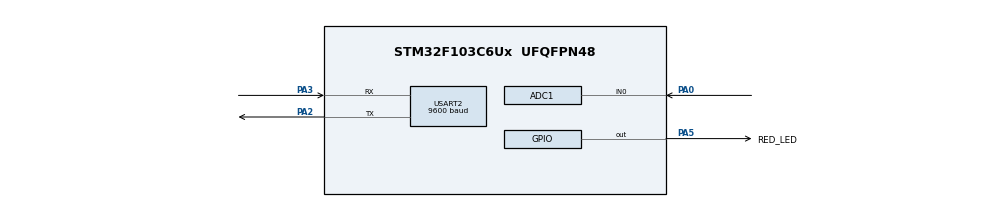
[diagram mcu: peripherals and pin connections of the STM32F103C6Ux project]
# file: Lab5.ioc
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ADC1.Channel-0\#ChannelRegularConversion=ADC_CHANNEL_0
ADC1.ContinuousConvMode=ENABLE
ADC1.NbrOfConversionFlag=1
ADC1.Rank-0\#ChannelRegularConversion=1
ADC1.SamplingTime-0\#ChannelRegularConversion=ADC_SAMPLETIME_1CYCLE_5
ADC1.master=1
Mcu.Family=STM32F1
Mcu.Name=STM32F103C6Ux
Mcu.Package=UFQFPN48
NVIC.PriorityGroup=NVIC_PRIORITYGROUP_4
NVIC.TIM2_IRQn=true\:0\:0\:false\:false\:true\:true\:true\:true
NVIC.USART2_IRQn=true\:0\:0\:false\:false\:true\:true\:true\:true
PA0-WKUP.Signal=ADCx_IN0
PA2.Mode=Asynchronous
PA2.Signal=USART2_TX
PA3.Mode=Asynchronous
PA3.Signal=USART2_RX
PA5.GPIO_Label=RED_LED
PA5.Signal=GPIO_Output
ProjectManager.HeapSize=0x200
ProjectManager.StackSize=0x400
ProjectManager.TargetToolchain=STM32CubeIDE
RCC.APB1Freq_Value=8000000
RCC.APB2Freq_Value=8000000
SH.ADCx_IN0.0=ADC1_IN0,IN0
TIM2.Period=9
TIM2.Prescaler=7999
USART2.BaudRate=9600
USART2.VirtualMode=VM_ASYNC
VP_TIM2_VS_ClockSourceINT.Mode=Internal
board=custom

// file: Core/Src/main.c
/* USER CODE BEGIN Header */
/**
  ******************************************************************************
  * @file           : main.c
  * @brief          : Main program body
  ******************************************************************************
  * @attention
  *
  * Copyright (c) 2022 STMicroelectronics.
  * All rights reserved.
  *
  * This software is licensed under terms that can be found in the LICENSE file
  * in the root directory of this software component.
  * If no LICENSE file comes with this software, it is provided AS-IS.
  *
  ******************************************************************************
  */
/* USER CODE END Header */
#include "main.h"
#include "software_timer.h"

/* USER CODE BEGIN Includes */
#include <stdio.h>
/* USER CODE END Includes */

ADC_HandleTypeDef hadc1;

TIM_HandleTypeDef htim2;

UART_HandleTypeDef huart2;

void SystemClock_Config(void);
static void MX_GPIO_Init(void);
static void MX_USART2_UART_Init(void);
static void MX_ADC1_Init(void);
static void MX_TIM2_Init(void);

/* USER CODE BEGIN 0 */
uint8_t temp = 0;
uint8_t buffer[6];
uint8_t buffer_flag = 0;

const char send_command[6] = "!RST#";
const char ok_command[5] = "!OK#";
int rst_pos = 0;
int ok_pos = 0;
uint32_t ADC_value = 0;
char str[10];
void HAL_UART_RxCpltCallback(UART_HandleTypeDef *huart) {
	if(huart->Instance == USART2) {
		if(send_command[rst_pos] == temp) {
			buffer[rst_pos++] = temp;
		}
		else rst_pos = 0;
		if(ok_command[ok_pos] == temp) {
			buffer[ok_pos] = temp;
			ok_pos++;
		}
		else ok_pos = 0;
		buffer_flag = 1;
		HAL_UART_Receive_IT(&huart2, &temp, 1);
	}
}
/* USER CODE END 0 */

int main(void)
{

  /* MCU Configuration--------------------------------------------------------*/

  /* Reset of all peripherals, Initializes the Flash interface and the Systick. */
  HAL_Init();

  /* Configure the system clock */
  SystemClock_Config();

  /* Initialize all configured peripherals */
  MX_GPIO_Init();
  MX_USART2_UART_Init();
  MX_ADC1_Init();
  MX_TIM2_Init();

  /* Infinite loop */
  /* USER CODE BEGIN WHILE */
  HAL_TIM_Base_Start_IT(&htim2);
  HAL_ADC_Start(&hadc1);
  HAL_UART_Receive_IT(&huart2, &temp, 1);
  while (1)
  {
    /* USER CODE END WHILE */

    /* USER CODE BEGIN 3 */
	  if(buffer_flag == 1) {
		  if(strcmp((const char*) buffer, "!RST#") == 0) {
			  HAL_GPIO_TogglePin(RED_LED_GPIO_Port, RED_LED_Pin);
			  ADC_value = HAL_ADC_GetValue(&hadc1);
			  HAL_UART_Transmit(&huart2, (void*)str, sprintf(str , "\r\n!ADC=%d", (int) ADC_value), 1000);
			  setTimer1(300);
			  for(int i = 0; i < 6; i++) {
				 buffer[i] = 0;
			  }
		  }
		  if(strcmp((const char*) buffer, "!OK#") == 0) {
			  setTimer1(0);
		  }

		  buffer_flag = 0;
	  }
	  if(timer1_flag == 1) {
		  setTimer1(300);
		  HAL_UART_Transmit(&huart2, (void*)str, sprintf(str , "\r\n!ADC=%d", (int) ADC_value), 1000);
	  }
  }
  /* USER CODE END 3 */
}

void SystemClock_Config(void)
{
  RCC_OscInitTypeDef RCC_OscInitStruct = {0};
  RCC_ClkInitTypeDef RCC_ClkInitStruct = {0};
  RCC_PeriphCLKInitTypeDef PeriphClkInit = {0};

  /** Initializes the RCC Oscillators according to the specified parameters
  * in the RCC_OscInitTypeDef structure.
  */
  RCC_OscInitStruct.OscillatorType = RCC_OSCILLATORTYPE_HSI;
  RCC_OscInitStruct.HSIState = RCC_HSI_ON;
  RCC_OscInitStruct.HSICalibrationValue = RCC_HSICALIBRATION_DEFAULT;
  RCC_OscInitStruct.PLL.PLLState = RCC_PLL_NONE;
  if (HAL_RCC_OscConfig(&RCC_OscInitStruct) != HAL_OK)
  {
    Error_Handler();
  }

  /** Initializes the CPU, AHB and APB buses clocks
  */
  RCC_ClkInitStruct.ClockType = RCC_CLOCKTYPE_HCLK|RCC_CLOCKTYPE_SYSCLK
                              |RCC_CLOCKTYPE_PCLK1|RCC_CLOCKTYPE_PCLK2;
  RCC_ClkInitStruct.SYSCLKSource = RCC_SYSCLKSOURCE_HSI;
  RCC_ClkInitStruct.AHBCLKDivider = RCC_SYSCLK_DIV1;
  RCC_ClkInitStruct.APB1CLKDivider = RCC_HCLK_DIV1;
  RCC_ClkInitStruct.APB2CLKDivider = RCC_HCLK_DIV1;

  if (HAL_RCC_ClockConfig(&RCC_ClkInitStruct, FLASH_LATENCY_0) != HAL_OK)
  {
    Error_Handler();
  }
  PeriphClkInit.PeriphClockSelection = RCC_PERIPHCLK_ADC;
  PeriphClkInit.AdcClockSelection = RCC_ADCPCLK2_DIV2;
  if (HAL_RCCEx_PeriphCLKConfig(&PeriphClkInit) != HAL_OK)
  {
    Error_Handler();
  }
}

static void MX_ADC1_Init(void)
{

  ADC_ChannelConfTypeDef sConfig = {0};

  /** Common config
  */
  hadc1.Instance = ADC1;
  hadc1.Init.ScanConvMode = ADC_SCAN_DISABLE;
  hadc1.Init.ContinuousConvMode = ENABLE;
  hadc1.Init.DiscontinuousConvMode = DISABLE;
  hadc1.Init.ExternalTrigConv = ADC_SOFTWARE_START;
  hadc1.Init.DataAlign = ADC_DATAALIGN_RIGHT;
  hadc1.Init.NbrOfConversion = 1;
  if (HAL_ADC_Init(&hadc1) != HAL_OK)
  {
    Error_Handler();
  }

  /** Configure Regular Channel
  */
  sConfig.Channel = ADC_CHANNEL_0;
  sConfig.Rank = ADC_REGULAR_RANK_1;
  sConfig.SamplingTime = ADC_SAMPLETIME_1CYCLE_5;
  if (HAL_ADC_ConfigChannel(&hadc1, &sConfig) != HAL_OK)
  {
    Error_Handler();
  }

}

static void MX_TIM2_Init(void)
{

  TIM_ClockConfigTypeDef sClockSourceConfig = {0};
  TIM_MasterConfigTypeDef sMasterConfig = {0};

  htim2.Instance = TIM2;
  htim2.Init.Prescaler = 7999;
  htim2.Init.CounterMode = TIM_COUNTERMODE_UP;
  htim2.Init.Period = 9;
  htim2.Init.ClockDivision = TIM_CLOCKDIVISION_DIV1;
  htim2.Init.AutoReloadPreload = TIM_AUTORELOAD_PRELOAD_DISABLE;
  if (HAL_TIM_Base_Init(&htim2) != HAL_OK)
  {
    Error_Handler();
  }
  sClockSourceConfig.ClockSource = TIM_CLOCKSOURCE_INTERNAL;
  if (HAL_TIM_ConfigClockSource(&htim2, &sClockSourceConfig) != HAL_OK)
  {
    Error_Handler();
  }
  sMasterConfig.MasterOutputTrigger = TIM_TRGO_RESET;
  sMasterConfig.MasterSlaveMode = TIM_MASTERSLAVEMODE_DISABLE;
  if (HAL_TIMEx_MasterConfigSynchronization(&htim2, &sMasterConfig) != HAL_OK)
  {
    Error_Handler();
  }

}

static void MX_USART2_UART_Init(void)
{

  huart2.Instance = USART2;
  huart2.Init.BaudRate = 9600;
  huart2.Init.WordLength = UART_WORDLENGTH_8B;
  huart2.Init.StopBits = UART_STOPBITS_1;
  huart2.Init.Parity = UART_PARITY_NONE;
  huart2.Init.Mode = UART_MODE_TX_RX;
  huart2.Init.HwFlowCtl = UART_HWCONTROL_NONE;
  huart2.Init.OverSampling = UART_OVERSAMPLING_16;
  if (HAL_UART_Init(&huart2) != HAL_OK)
  {
    Error_Handler();
  }

}

static void MX_GPIO_Init(void)
{
  GPIO_InitTypeDef GPIO_InitStruct = {0};

  /* GPIO Ports Clock Enable */
  __HAL_RCC_GPIOA_CLK_ENABLE();

  /*Configure GPIO pin Output Level */
  HAL_GPIO_WritePin(RED_LED_GPIO_Port, RED_LED_Pin, GPIO_PIN_RESET);

  /*Configure GPIO pin : RED_LED_Pin */
  GPIO_InitStruct.Pin = RED_LED_Pin;
  GPIO_InitStruct.Mode = GPIO_MODE_OUTPUT_PP;
  GPIO_InitStruct.Pull = GPIO_NOPULL;
  GPIO_InitStruct.Speed = GPIO_SPEED_FREQ_LOW;
  HAL_GPIO_Init(RED_LED_GPIO_Port, &GPIO_InitStruct);

}

/* USER CODE BEGIN 4 */
void HAL_TIM_PeriodElapsedCallback(TIM_HandleTypeDef *htim) {
	timerRun();
}
/* USER CODE END 4 */

void Error_Handler(void)
{
  __disable_irq();
  while (1)
  {
  }
}
